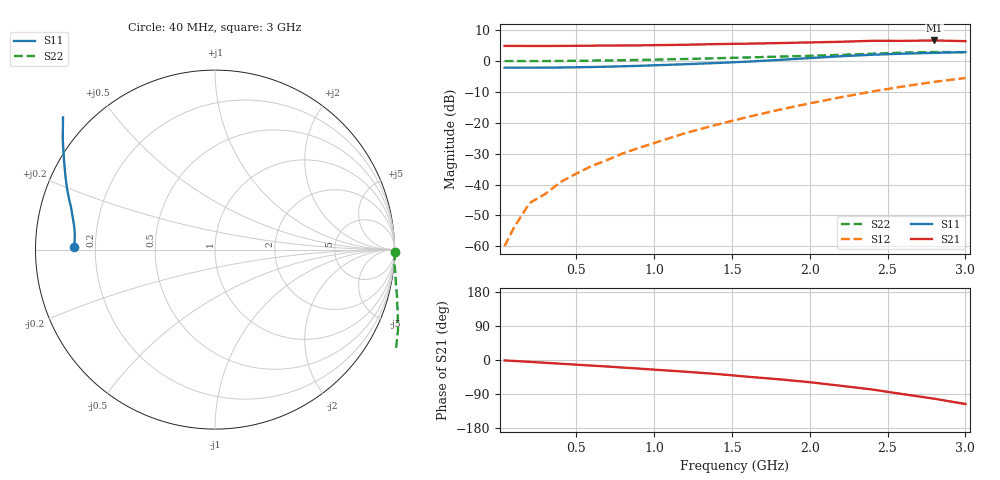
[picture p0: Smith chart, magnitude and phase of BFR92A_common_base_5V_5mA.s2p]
! Filename:  BFR92ACB.S2P  Version:  2.0
! Philips part #: BFR92A  Date: Jul 1990
! Bias condition: Vce=5V, Ic=5mA
! COMMON BASE
#  MHz  S  MA  R  50
! Freq  S11  S21  S12  S22
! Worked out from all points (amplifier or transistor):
!   21 points, 40 MHz to 3 GHz, reference 50 ohm
!   highest |S21| = 6.7 dB at 2.8 GHz (marker M1)
!   |S21| within 3 dB of that: start of sweep to end of sweep
!   unconditionally stable (mu >= 1): nowhere
!   at 300 MHz: K = -0.44, MSG = 24.0 dB, |S12| = -43.1 dB
!   at 1 GHz: K = -0.91, MSG = 15.9 dB, |S12| = -26.6 dB
!   at 3 GHz: K = -0.77, MSG = 6.0 dB, |S12| = -5.5 dB
40  0.784 179.1  1.768 -1.2  0.001 61.9  1.002 -0.7
100  0.783 177.9  1.765 -2.4  0.002 84.5  1.004 -1.4
200  0.784 176.0  1.764 -4.9  0.005 104.4  1.003 -3.1
300  0.785 174.2  1.762 -7.3  0.007 113.2  1.003 -4.7
400  0.789 172.5  1.767 -9.8  0.011 122.2  1.009 -6.2
500  0.795 170.7  1.772 -12.3  0.015 125.1  1.014 -7.8
600  0.804 168.8  1.782 -14.8  0.02 129.6  1.02 -9.3
700  0.814 167.0  1.788 -17.2  0.025 132.6  1.027 -11.0
800  0.826 165.1  1.795 -20.0  0.032 134.8  1.036 -12.6
900  0.839 163.2  1.802 -22.6  0.039 137.4  1.047 -14.4
1000  0.856 161.4  1.818 -25.4  0.047 139.0  1.057 -16.2
1200  0.892 157.6  1.844 -30.9  0.068 141.0  1.084 -20.0
1400  0.933 153.4  1.891 -36.8  0.093 140.7  1.115 -23.9
1600  0.982 149.0  1.921 -44.1  0.124 140.4  1.148 -28.5
1800  1.046 144.2  1.963 -50.8  0.162 138.4  1.185 -33.7
2000  1.122 139.0  2.012 -58.6  0.207 135.6  1.22 -39.9
2200  1.201 133.8  2.062 -68.0  0.26 132.1  1.266 -47.2
2400  1.27 127.8  2.138 -77.8  0.322 127.1  1.322 -55.3
2600  1.323 120.3  2.132 -90.1  0.389 121.7  1.374 -64.0
2800  1.364 111.0  2.166 -102.2  0.462 114.7  1.407 -72.9
3000  1.4 101.3  2.111 -116.1  0.533 107.7  1.399 -82.6
